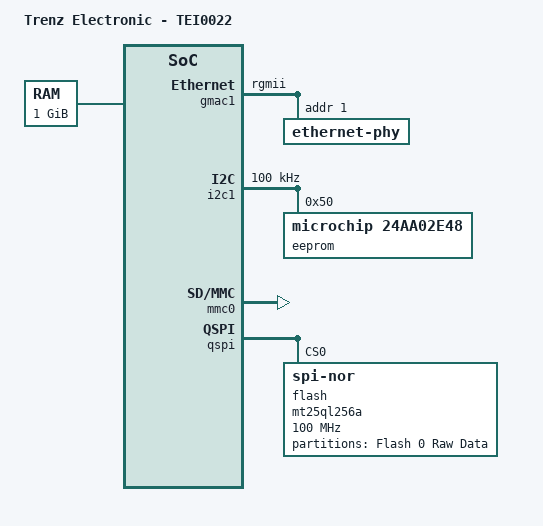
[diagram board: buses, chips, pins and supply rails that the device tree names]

#include "socfpga_cyclone5.dtsi"							  

/ {
	model = "Trenz Electronic - TEI0022";
	compatible = "altr,socfpga-cyclone5", "altr,socfpga";

	chosen {
		bootargs = "earlyprintk";
		stdout-path = "serial0:115200n8";
	};

	memory {
		name = "memory";
		device_type = "memory";
		reg = <0x0 0x40000000>;
	};

	aliases {
		ethernet0 = &gmac1;
	};
};

&gpio0 {
	status = "okay";
};

&gpio1 {
	status = "okay";
};

&gpio2 {
	status = "okay";
};

&gmac1 {
	#address-cells = <1>;
	#size-cells = <0>;

	status = "okay";
	phy-mode = "rgmii";

	ethernet-phy@1 {
		reg = <1>;
		adi,rx-internal-delay-ps = <2000>;
		adi,tx-internal-delay-ps = <2000>;
	};
};

&i2c1 {
	status = "okay";
	clock-frequency = <100000>;
	eeprom: eeprom@50 {
		compatible = "microchip,24aa02e48","atmel,24c02";
		reg = <0x50>;
	};
};

&uart0 {
	clock-frequency = <100000000>;
};

&mmc0 {
	status = "okay";
};

&qspi {
	status = "okay";

	flash: mt25ql256a@0 {
		#address-cells = <1>;
		#size-cells = <1>;
		compatible = "jedec,spi-nor";
		reg = <0>;
		spi-max-frequency = <100000000>;
		m25p,fast-read;
		
		cdns,page-size = <256>;
		cdns,block-size = <16>;
		cdns,read-delay = <4>;
		cdns,tshsl-ns = <50>;
		cdns,tsd2d-ns = <50>;
		cdns,tchsh-ns = <4>;
		cdns,tslch-ns = <4>;
		
		partition@qspi-boot {
			label = "Flash 0 Raw Data";
			reg = <0x0 0x400000>;
		};
	};
};

